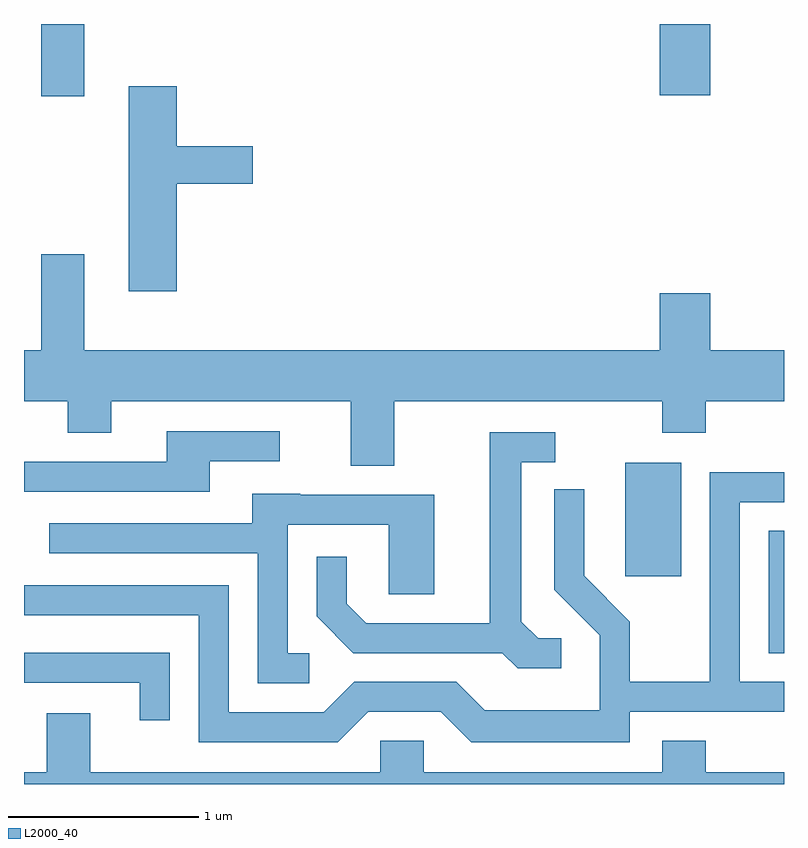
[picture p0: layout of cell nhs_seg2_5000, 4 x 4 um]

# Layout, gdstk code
import gdstk
lib = gdstk.Library(unit=1e-6, precision=1e-09)
def R(c, l, rs):  # rectangles x0, y0, x1, y1
    for r in rs: c.add(gdstk.rectangle(r[:2], r[2:], *l))
def P(c, l, *ps):  # polygons
    for p in ps: c.add(gdstk.Polygon(p, *l))
L2000_40 = (2000, 40)

nhs_seg2_5000 = lib.new_cell('nhs_seg2_5000')
R(nhs_seg2_5000, L2000_40, [(335.531,1102.491,335.611,1103.134), (334.776,1102.896,335.069,1103.494), (331.701,1105.421,331.929,1105.802), (334.956,1105.426,335.224,1105.802)])
P(nhs_seg2_5000, L2000_40, [(332.414,1104.961),(332.814,1104.961),(332.814,1105.159),(332.414,1105.159),(332.414,1105.474),(332.161,1105.474),(332.161,1104.396),(332.414,1104.396)],
  [(333.559,1103.816),(334.971,1103.816),(334.971,1103.651),(335.199,1103.651),(335.199,1103.816),(335.611,1103.816),(335.611,1104.084),(335.224,1104.084),(335.224,1104.384),(334.956,1104.384),(334.956,1104.084),(331.929,1104.084),(331.929,1104.589),(331.701,1104.589),(331.701,1104.084),(331.611,1104.084),(331.611,1103.816),(331.841,1103.816),(331.841,1103.651),(332.069,1103.651),(332.069,1103.816),(333.331,1103.816),(333.331,1103.476),(333.559,1103.476)],
  [(332.589,1103.501),(332.958,1103.501),(332.958,1103.659),(332.361,1103.659),(332.361,1103.499),(331.611,1103.499),(331.611,1103.341),(332.589,1103.341)],
  [(334.438,1102.569),(334.317,1102.569),(334.229,1102.657),(334.229,1103.496),(334.408,1103.496),(334.408,1103.654),(334.061,1103.654),(334.061,1102.649),(333.412,1102.649),(333.309,1102.752),(333.309,1102.998),(333.151,1102.998),(333.151,1102.684),(333.344,1102.491),(334.129,1102.491),(334.209,1102.411),(334.438,1102.411)],
  [(333.422,1102.181),(333.804,1102.181),(333.964,1102.021),(334.799,1102.021),(334.799,1102.181),(335.611,1102.181),(335.611,1102.339),(335.379,1102.339),(335.379,1103.286),(335.611,1103.286),(335.611,1103.444),(335.221,1103.444),(335.221,1102.339),(334.799,1102.339),(334.799,1102.657),(334.559,1102.897),(334.559,1103.353),(334.401,1103.353),(334.401,1102.824),(334.641,1102.584),(334.641,1102.189),(334.037,1102.189),(333.887,1102.339),(333.349,1102.339),(333.189,1102.179),(332.689,1102.179),(332.689,1102.849),(331.611,1102.849),(331.611,1102.691),(332.531,1102.691),(332.531,1102.021),(333.262,1102.021)],
  [(333.113,1102.489),(332.999,1102.489),(332.999,1103.166),(333.531,1103.166),(333.531,1102.801),(333.769,1102.801),(333.769,1103.324),(333.065,1103.324),(333.065,1103.329),(332.811,1103.329),(332.811,1103.174),(331.743,1103.174),(331.743,1103.016),(332.841,1103.016),(332.841,1102.331),(333.113,1102.331)],
  [(332.379,1102.494),(331.611,1102.494),(331.611,1102.336),(332.221,1102.336),(332.221,1102.138),(332.379,1102.138)],
  [(335.611,1101.864),(335.199,1101.864),(335.199,1102.029),(334.971,1102.029),(334.971,1101.864),(333.714,1101.864),(333.714,1102.029),(333.486,1102.029),(333.486,1101.864),(331.959,1101.864),(331.959,1102.174),(331.731,1102.174),(331.731,1101.864),(331.611,1101.864),(331.611,1101.802),(335.611,1101.802)])

lib.write_gds('nhs_seg2_5000.gds')
